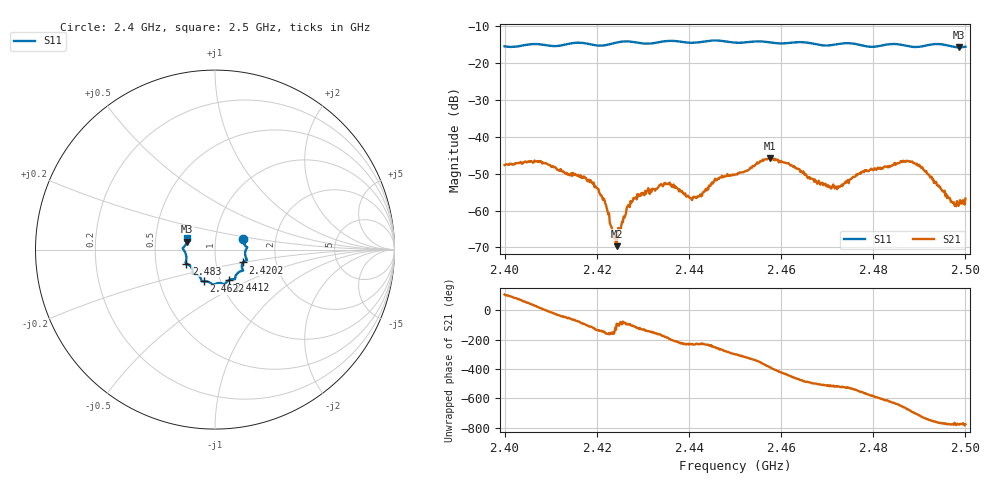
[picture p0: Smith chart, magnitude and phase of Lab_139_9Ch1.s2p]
# Hz S RI R 50
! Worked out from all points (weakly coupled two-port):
!   601 points, 2.4 GHz to 2.5 GHz, reference 50 ohm
!   highest |S21| = -45.81 dB at 2.4575 GHz (marker M1); lowest = -69.7 dB at 2.4243 GHz (marker M2)
!   lowest |S11| = -15.8 dB at 2.4987 GHz (marker M3), VSWR 1.39, Z = 36.4 + j3.29 ohm
!   |S11| at or under -10 dB: start of sweep to end of sweep
!   S12 and S22 are empty: the file has one direction only
!   S11 on the Smith chart (normalised r, x): 2.4 GHz: 1.36, +0.17; 2.4202 GHz: 1.35, -0.20; 2.4412 GHz: 1.09, -0.39; 2.4622 GHz: 0.83, -0.30; 2.483 GHz: 0.72, -0.12; 2.5 GHz: 0.73, +0.09
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2.4e9  0.1565 0.0599  -0.00122 0.00394  0 0  0 0
2.4075e9  0.1785 0.0104  0.00432 0.00139  0 0  0 0
2.416667e9  0.1777 -0.0584  8.54e-05 -0.00277  0 0  0 0
2.420167e9  0.156 -0.0718  -0.00141 -0.00139  0 0  0 0
2.422167e9  0.1494 -0.091  -0.000999 -0.000394  0 0  0 0
2.423833e9  0.1524 -0.1062  -0.000388 -0.000215  0 0  0 0
2.424333e9  0.1538 -0.1094  -3.55e-06 -0.000329  0 0  0 0
2.427833e9  0.1522 -0.1175  -0.000313 -0.00135  0 0  0 0
2.433333e9  0.1129 -0.1524  -0.00198 -0.000605  0 0  0 0
2.435667e9  0.111 -0.1646  -0.00229 0.000548  0 0  0 0
2.441167e9  0.0753 -0.1714  -0.00092 0.0012  0 0  0 0
2.45e9  0.0266 -0.1862  0.00152 0.00267  0 0  0 0
2.4575e9  -0.0213 -0.1888  0.00458 -0.0023  0 0  0 0
2.462167e9  -0.0633 -0.1764  -6.53e-05 -0.00413  0 0  0 0
2.466667e9  -0.0766 -0.1669  -0.00193 -0.0019  0 0  0 0
2.472167e9  -0.1158 -0.1362  -0.00182 -0.00069  0 0  0 0
2.483e9  -0.1593 -0.0781  -0.00119 0.00367  0 0  0 0
2.483333e9  -0.161 -0.0773  -0.000774 0.00377  0 0  0 0
2.4895e9  -0.1616 -0.0285  0.0042 0.000977  0 0  0 0
2.497333e9  -0.1635 0.0275  0.000748 -0.00101  0 0  0 0
2.498667e9  -0.1561 0.0441  0.000661 -0.00105  0 0  0 0
2.5e9  -0.1533 0.0628  0.00082 -0.0012  0 0  0 0
